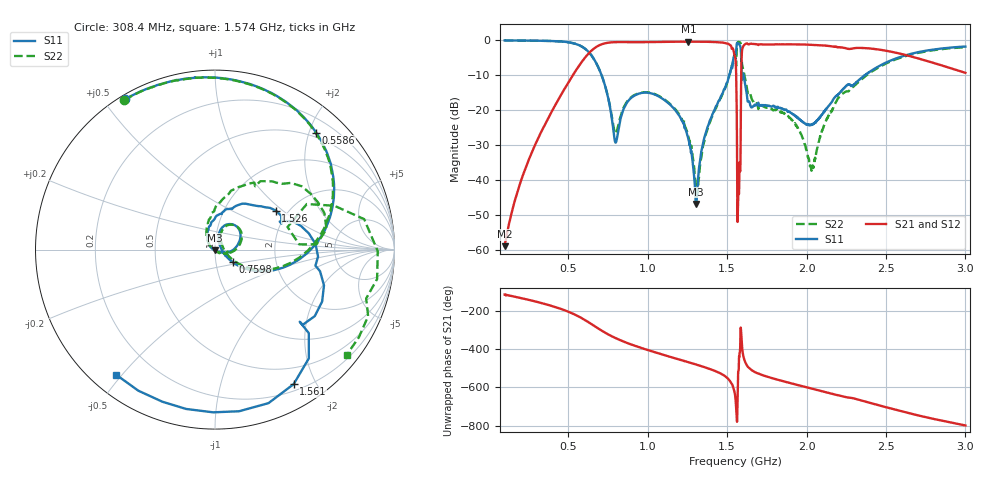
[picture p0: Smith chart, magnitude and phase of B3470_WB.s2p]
! Matrix data file written by TouchstoneData, EPCOS AG
! FILENAME: "newformat_LZ68A_4_WB.s2p"
! COMMENT: "(LZ68A_4_WB.s2p) EPCOS AG 21.09.2011 16:07:1"
! INFO: nport=2, nfreq=1601
! DATE: "Fri Sep 23 09:06:14 2011"
! USER: "Daniel Harbusch"
! port | pin | signal
!  1  |  1  |  IN
!  2  |  4  |  OUT
# MHZ S MA R 50
! freq  magS11 angS11  magS21 angS21  magS12 angS12  magS22 angS22
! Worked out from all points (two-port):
!   1601 points, 100 MHz to 3 GHz, reference 50 ohm
!   highest |S21| = -0.47 dB at 1.256 GHz (marker M1); lowest = -59.0 dB at 100 MHz (marker M2)
!   |S21| within 3 dB of the highest: 637 MHz to 1.543 GHz (905.9 MHz wide, 83.1 % of centre); 1.593 GHz to 2.544 GHz (950.5 MHz wide, 45.9 % of centre)
!   lowest |S11| = -46.9 dB at 1.305 GHz (marker M3), VSWR 1.01, Z = 49.8 - j0.413 ohm
!   |S11| at or under -10 dB: 709.7 MHz to 1.514 GHz (804.3 MHz wide, 72.3 % of centre); 1.591401 GHz to 1.596173 GHz (4.771 MHz wide, 0.299 % of centre); 1.604 GHz to 2.37 GHz (766.2 MHz wide, 38.6 % of centre)
!   |S22| runs from -43.7 to -0.1 dB; largest |S21 - S12| = 0.0026
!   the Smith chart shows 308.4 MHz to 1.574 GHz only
!   S11 on the Smith chart (normalised r, x): 308.4 MHz: 0.02, +0.57; 558.6 MHz: 0.42, +2.12; 759.8 MHz: 1.21, -0.17; 1.526 GHz: 1.73, +0.90; 1.561 GHz: 0.28, -1.71; 1.574 GHz: 0.07, -0.48
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100  0.9844 161.5  0.001122 -112.5  0.001129 -113.9  0.9841 161.7
308.4375  0.9761 120.8  0.03817 -152.0  0.03817 -152.0  0.9753 121.2
558.5625  0.8618 49.2  0.3963 135.4  0.3963 135.5  0.8611 49.7
583.9375  0.8111 38.2  0.4796 124.2  0.4795 124.2  0.81 38.9
759.75  0.121 -35.4  0.9183 34.8  0.9177 34.8  0.1236 -30.2
799.625  0.0341 25.5  0.9314 18.4  0.9309 18.4  0.04579 25.6
890.25  0.144 68.5  0.9305 -12.6  0.9304 -12.6  0.1478 64.2
1067.875  0.1568 25.4  0.9361 -61.1  0.9357 -61.1  0.1595 21.2
1256.375  0.03812 -24.7  0.9475 -107.6  0.9476 -107.6  0.04194 -30.6
1305.312  0.004525 -113.5  0.9468 -119.8  0.947 -119.8  0.007721 -92.6
1468.438  0.1663 92.1  0.9184 -170.7  0.9178 -170.7  0.1617 102.7
1526.438  0.4029 32.7  0.8063 141.5  0.806 141.5  0.3936 65.5
1550  0.6633 -25.8  0.5747 82.4  0.5745 82.4  0.6426 18.5
1560.875  0.8682 -59.7  0.09728 -35.5  0.09716 -35.5  0.7085 20.2
1573.562  0.8884 -128.3  0.006462 -144.8  0.006448 -144.8  0.9396 -38.7
1609.812  0.2628 147.6  0.8567 -97.7  0.8564 -97.7  0.309 -146.4
1642.438  0.1256 115.5  0.876 -140.0  0.8758 -140.0  0.177 172.7
1714.938  0.1143 104.6  0.867 -173.1  0.8667 -173.1  0.1175 111.2
2033.938  0.06129 104.2  0.8532 113.5  0.853 113.5  0.0139 -58.0
2200.688  0.166 129.7  0.7863 78.6  0.7862 78.7  0.1493 172.9
2517.875  0.495 85.6  0.6901 12.3  0.6898 12.3  0.4808 102.0
3000  0.8032 0.8  0.3389 -79.6  0.3389 -79.6  0.7881 6.1
